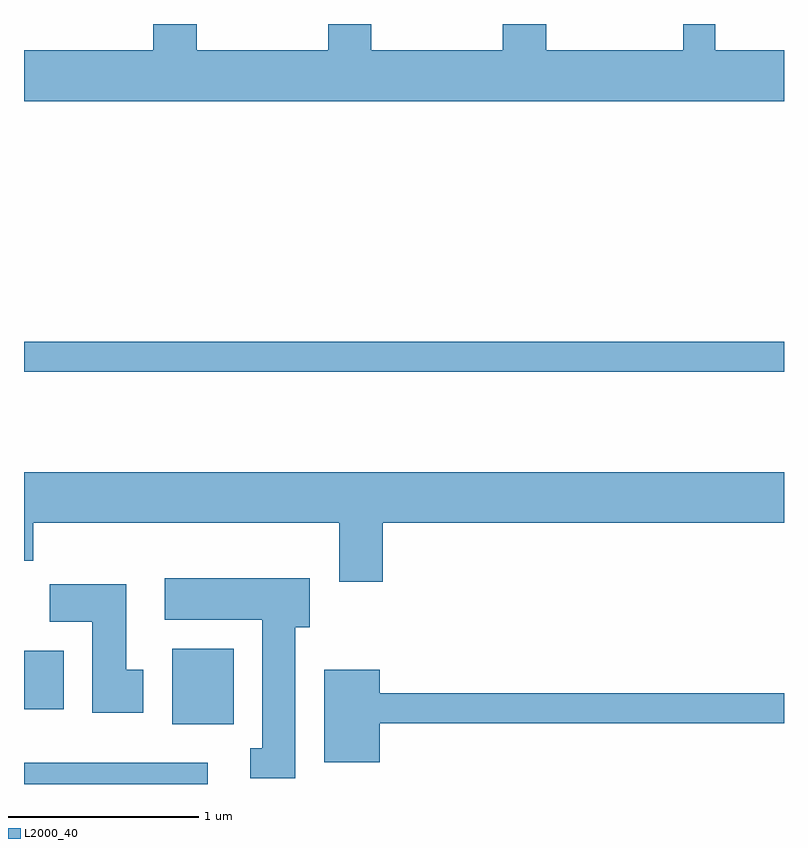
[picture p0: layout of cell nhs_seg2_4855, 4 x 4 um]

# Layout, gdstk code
import gdstk
lib = gdstk.Library(unit=1e-6, precision=1e-09)
def R(c, l, rs):  # rectangles x0, y0, x1, y1
    for r in rs: c.add(gdstk.rectangle(r[:2], r[2:], *l))
def P(c, l, *ps):  # polygons
    for p in ps: c.add(gdstk.Polygon(p, *l))
L2000_40 = (2000, 40)

nhs_seg2_4855 = lib.new_cell('nhs_seg2_4855')
R(nhs_seg2_4855, L2000_40, [(327.611,1075.802,328.579,1075.914), (328.391,1076.116,328.714,1076.514), (327.611,1076.196,327.819,1076.504), (327.611,1077.971,331.611,1078.129)])
P(nhs_seg2_4855, L2000_40, [(331.611,1079.664),(331.249,1079.664),(331.249,1079.802),(331.081,1079.802),(331.081,1079.664),(330.359,1079.664),(330.359,1079.802),(330.131,1079.802),(330.131,1079.664),(329.439,1079.664),(329.439,1079.802),(329.211,1079.802),(329.211,1079.664),(328.519,1079.664),(328.519,1079.802),(328.291,1079.802),(328.291,1079.664),(327.611,1079.664),(327.611,1079.396),(331.611,1079.396)],
  [(329.499,1077.176),(331.611,1077.176),(331.611,1077.444),(327.611,1077.444),(327.611,1076.976),(327.659,1076.976),(327.659,1077.176),(329.271,1077.176),(329.271,1076.866),(329.499,1076.866)],
  [(329.039,1076.626),(329.114,1076.626),(329.114,1076.884),(328.351,1076.884),(328.351,1076.666),(328.866,1076.666),(328.866,1075.989),(328.803,1075.989),(328.803,1075.831),(329.039,1075.831)],
  [(328.239,1076.404),(328.149,1076.404),(328.149,1076.854),(327.746,1076.854),(327.746,1076.656),(327.971,1076.656),(327.971,1076.176),(328.239,1076.176)],
  [(329.484,1076.121),(331.611,1076.121),(331.611,1076.279),(329.484,1076.279),(329.484,1076.404),(329.191,1076.404),(329.191,1075.916),(329.484,1075.916)])

lib.write_gds('nhs_seg2_4855.gds')
